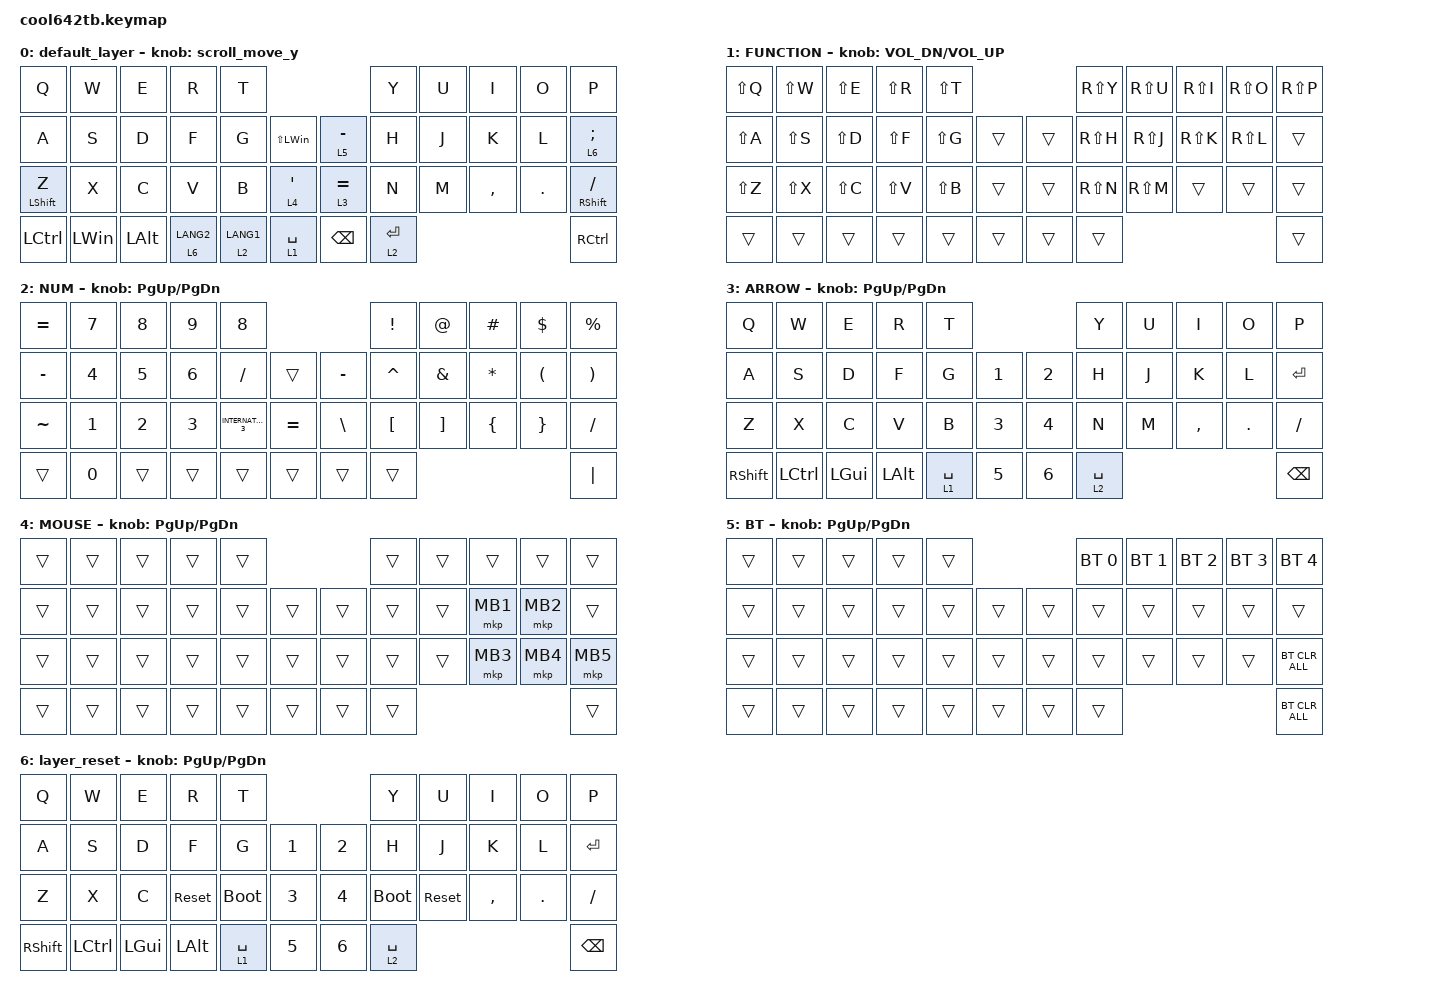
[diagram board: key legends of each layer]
#include <behaviors.dtsi>
#include <dt-bindings/zmk/bt.h>
#include <dt-bindings/zmk/keys.h>
#include <dt-bindings/zmk/pointing.h>

#define ZMK_MOUSE_DEFAULT_SCRL_VAL 100
#define MOUSE 4
#define SCROLL 5
#define NUM 6

&mt {
    flavor = "balanced";
    quick-tap-ms = <0>;
};

/ {
    combos {
        compatible = "zmk,combos";

        comb1 {
            bindings = <&kp TAB>;
            key-positions = <11 10>;
        };

        comb2 {
            bindings = <&kp LS(ESCAPE)>;
            key-positions = <0 1>;
        };

        comb3 {
            bindings = <&kp CAPSLOCK>;
            key-positions = <22 23>;
        };

        comb4 {
            bindings = <&kp BACKSPACE>;
            key-positions = <9 8>;
        };

        comb5 {
            bindings = <&bt BT_CLR_ALL>;
            key-positions = <9 8>;
            timeout-ms = <0>;
            layers = <2>;
        };

        MS_BTN1_ {
            bindings = <&mkp MB1>;
            key-positions = <38 39>;
        };

        MS_BTN2_ {
            bindings = <&mkp MB2>;
            key-positions = <38 37>;
        };
    };

    macros {
        to_layer_0: to_layer_0 {
            compatible = "zmk,behavior-macro-one-param";
            #binding-cells = <1>;
            bindings = <&to 0 &macro_param_1to1 &kp MACRO_PLACEHOLDER>;
            label = "TO_LAYER_0";
        };
    };

    behaviors {
        lt_to_layer_0: lt_to_layer_0 {
            compatible = "zmk,behavior-hold-tap";
            label = "LAYER_TAP_TO_0";
            bindings = <&mo>, <&to_layer_0>;

            #binding-cells = <2>;
            tapping-term-ms = <200>;
        };

        scroll_up_down: behavior_sensor_rotate_mouse_wheel_up_down {
            compatible = "zmk,behavior-sensor-rotate";
            #sensor-binding-cells = <0>;
            bindings = <&msc SCRL_UP>, <&msc SCRL_DOWN>;

            tap-ms = <20>;
        };
    };

    // エンコーダー：キー

    rot_kp: sensor_rotate_kp {
        compatible = "zmk,behavior-sensor-rotate-var";
        #sensor-binding-cells = <2>;
        bindings = <&kp>, <&kp>;
    };

    // エンコーダー：マウススクロール 

    rot_msc: sensor_rotate_msc {
        compatible = "zmk,behavior-sensor-rotate-var";
        #sensor-binding-cells = <2>;
        tap-ms = <20>;
        bindings = <&msc>, <&msc>;
    };

    // エンコーダー：マウススクロール(MOVE_Y)

    scroll_move_y: sensor_rotate_msc_for_move_y {
        compatible = "zmk,behavior-sensor-rotate";
        #sensor-binding-cells = <0>;
        bindings = <&msc MOVE_Y(20)>, <&msc MOVE_Y(-20)>;

        // tap-ms下限メモ Yの値で可変: Y(15) <81>, Y(20) <65>, Y(25) <49>

        tap-ms = <65>;
    };

    // エンコーダー：マウススクロール(MOVE_X)

    scroll_move_x: sensor_rotate_msc_for_move_x {
        compatible = "zmk,behavior-sensor-rotate";
        #sensor-binding-cells = <0>;
        bindings = <&msc MOVE_X(20)>, <&msc MOVE_X(-20)>;

        // tap-ms下限メモ Xの値で可変: X(15) <81>, X(20) <65>, X(25) <49>

        tap-ms = <65>;
    };

    keymap {
        compatible = "zmk,keymap";

        default_layer {
            bindings = <
&kp Q             &kp W         &kp E         &kp R        &kp T                                         &kp Y         &kp U  &kp I      &kp O       &kp P
&kp A             &kp S         &kp D         &kp F        &kp G        &kp LS(LEFT_WIN)  &lt 5 MINUS    &kp H         &kp J  &kp K      &kp L       &lt 6 SEMICOLON
&mt LEFT_SHIFT Z  &kp X         &kp C         &kp V        &kp B        &lt 4 SQT         &lt 3 EQUAL    &kp N         &kp M  &kp COMMA  &kp PERIOD  &mt RIGHT_SHIFT SLASH
&kp LCTRL         &kp LEFT_WIN  &kp LEFT_ALT  &lt 6 LANG2  &lt 2 LANG1  &lt 1 SPACE       &kp BACKSPACE  &lt 2 RETURN                                &kp RCTRL
            >;

            sensor-bindings = <&scroll_move_y>;
        };

        FUNCTION {
            bindings = <
&kp LS(Q)  &kp LS(W)  &kp LS(E)  &kp LS(R)  &kp LS(T)                  &kp RS(Y)  &kp RS(U)  &kp RS(I)  &kp RS(O)  &kp RS(P)
&kp LS(A)  &kp LS(S)  &kp LS(D)  &kp LS(F)  &kp LS(G)  &trans  &trans  &kp RS(H)  &kp RS(J)  &kp RS(K)  &kp RS(L)  &trans
&kp LS(Z)  &kp LS(X)  &kp LS(C)  &kp LS(V)  &kp LS(B)  &trans  &trans  &kp RS(N)  &kp RS(M)  &trans     &trans     &trans
&trans     &trans     &trans     &trans     &trans     &trans  &trans  &trans                                      &trans
            >;

            sensor-bindings = <&inc_dec_kp C_VOL_DN C_VOL_UP>;
        };

        NUM {
            bindings = <
&kp EQUAL  &kp N7        &kp N8  &kp N9  &kp N8                                         &kp EXCLAMATION   &kp AT_SIGN        &kp HASH        &kp DOLLAR            &kp PERCENT
&kp MINUS  &kp NUMBER_4  &kp N5  &kp N6  &kp SLASH            &trans     &kp MINUS      &kp CARET         &kp AMPERSAND      &kp ASTERISK    &kp LEFT_PARENTHESIS  &kp RIGHT_PARENTHESIS
&kp TILDE  &kp N1        &kp N2  &kp N3  &kp INTERNATIONAL_3  &kp EQUAL  &kp BACKSLASH  &kp LEFT_BRACKET  &kp RIGHT_BRACKET  &kp LEFT_BRACE  &kp RIGHT_BRACE       &kp SLASH
&trans     &kp N0        &trans  &trans  &trans               &trans     &trans         &trans                                                                     &kp PIPE
            >;

            sensor-bindings = <&inc_dec_kp PG_UP PAGE_DOWN>;
        };

        ARROW {
            bindings = <
&kp Q       &kp W      &kp E     &kp R     &kp T                        &kp Y        &kp U  &kp I      &kp O       &kp P
&kp A       &kp S      &kp D     &kp F     &kp G        &kp N1  &kp N2  &kp H        &kp J  &kp K      &kp L       &kp ENTER
&kp Z       &kp X      &kp C     &kp V     &kp B        &kp N3  &kp N4  &kp N        &kp M  &kp COMMA  &kp PERIOD  &kp SLASH
&kp RSHIFT  &kp LCTRL  &kp LGUI  &kp LALT  &lt 1 SPACE  &kp N5  &kp N6  &lt 2 SPACE                                &kp BSPC
            >;

            sensor-bindings = <&inc_dec_kp PG_UP PAGE_DOWN>;
        };

        MOUSE {
            bindings = <
&trans  &trans  &trans  &trans  &trans                  &trans  &trans  &trans    &trans    &trans
&trans  &trans  &trans  &trans  &trans  &trans  &trans  &trans  &trans  &mkp MB1  &mkp MB2  &trans
&trans  &trans  &trans  &trans  &trans  &trans  &trans  &trans  &trans  &mkp MB3  &mkp MB4  &mkp MB5
&trans  &trans  &trans  &trans  &trans  &trans  &trans  &trans                              &trans
            >;

            sensor-bindings = <&inc_dec_kp PG_UP PAGE_DOWN>;
        };

        BT {
            bindings = <
&trans  &trans  &trans  &trans  &trans                  &bt BT_SEL 0  &bt BT_SEL 1  &bt BT_SEL 2  &bt BT_SEL 3  &bt BT_SEL 4
&trans  &trans  &trans  &trans  &trans  &trans  &trans  &trans        &trans        &trans        &trans        &trans
&trans  &trans  &trans  &trans  &trans  &trans  &trans  &trans        &trans        &trans        &trans        &bt BT_CLR_ALL
&trans  &trans  &trans  &trans  &trans  &trans  &trans  &trans                                                  &bt BT_CLR_ALL
            >;

            sensor-bindings = <&inc_dec_kp PG_UP PAGE_DOWN>;
        };

        layer_reset {
            bindings = <
&kp Q       &kp W      &kp E     &kp R       &kp T                        &kp Y        &kp U       &kp I      &kp O       &kp P
&kp A       &kp S      &kp D     &kp F       &kp G        &kp N1  &kp N2  &kp H        &kp J       &kp K      &kp L       &kp ENTER
&kp Z       &kp X      &kp C     &sys_reset  &bootloader  &kp N3  &kp N4  &bootloader  &sys_reset  &kp COMMA  &kp PERIOD  &kp SLASH
&kp RSHIFT  &kp LCTRL  &kp LGUI  &kp LALT    &lt 1 SPACE  &kp N5  &kp N6  &lt 2 SPACE                                     &kp BSPC
            >;

            sensor-bindings = <&inc_dec_kp PG_UP PAGE_DOWN>;
        };
    };
};
